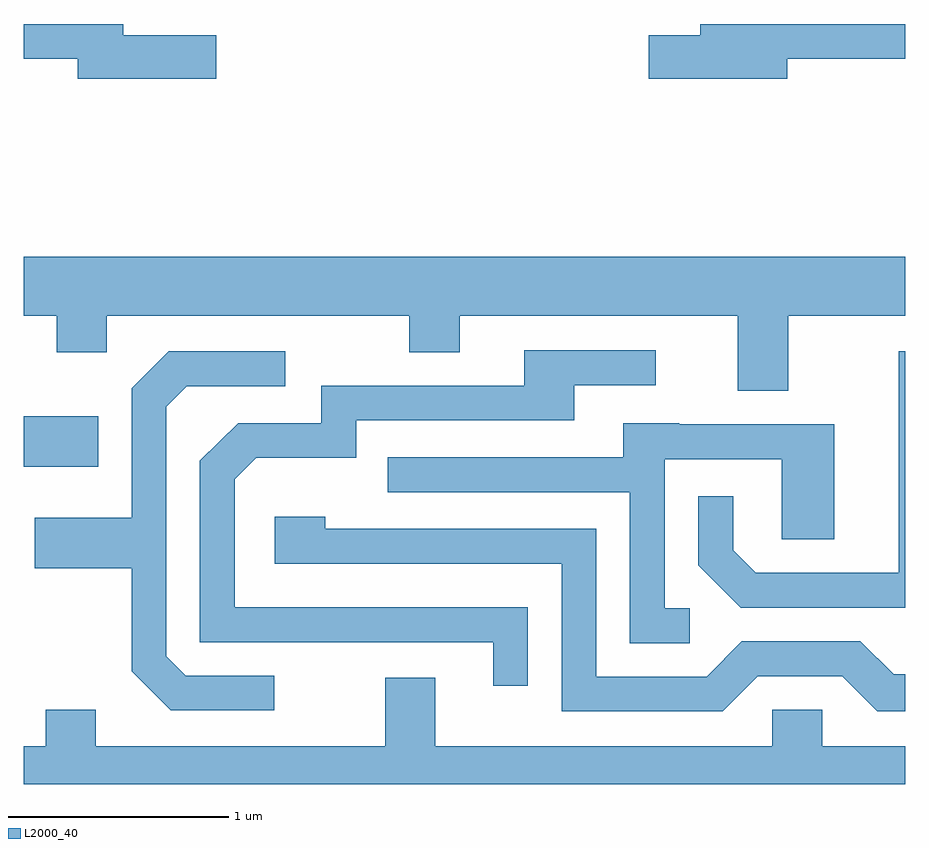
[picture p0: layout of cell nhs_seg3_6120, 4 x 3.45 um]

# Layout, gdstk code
import gdstk
lib = gdstk.Library(unit=1e-6, precision=1e-09)
def R(c, l, rs):  # rectangles x0, y0, x1, y1
    for r in rs: c.add(gdstk.rectangle(r[:2], r[2:], *l))
def P(c, l, *ps):  # polygons
    for p in ps: c.add(gdstk.Polygon(p, *l))
L2000_40 = (2000, 40)

nhs_seg3_6120 = lib.new_cell('nhs_seg3_6120')
R(nhs_seg3_6120, L2000_40, [(365.611,1125.331,365.949,1125.559)])
P(nhs_seg3_6120, L2000_40, [(369.074,1127.181),(369.611,1127.181),(369.611,1127.339),(368.681,1127.339),(368.681,1127.289),(368.446,1127.289),(368.446,1127.091),(369.074,1127.091)],
  [(366.484,1127.289),(366.064,1127.289),(366.064,1127.339),(365.611,1127.339),(365.611,1127.181),(365.856,1127.181),(365.856,1127.091),(366.484,1127.091)],
  [(369.079,1126.016),(369.611,1126.016),(369.611,1126.284),(365.611,1126.284),(365.611,1126.016),(365.761,1126.016),(365.761,1125.851),(365.989,1125.851),(365.989,1126.016),(367.361,1126.016),(367.361,1125.851),(367.589,1125.851),(367.589,1126.016),(368.851,1126.016),(368.851,1125.676),(369.079,1125.676)],
  [(367.899,1124.694),(366.569,1124.694),(366.569,1125.274),(366.667,1125.371),(367.119,1125.371),(367.119,1125.541),(368.109,1125.541),(368.109,1125.701),(368.478,1125.701),(368.478,1125.859),(367.881,1125.859),(367.881,1125.699),(366.961,1125.699),(366.961,1125.529),(366.584,1125.529),(366.411,1125.357),(366.411,1124.536),(367.741,1124.536),(367.741,1124.338),(367.899,1124.338)],
  [(366.748,1124.384),(366.347,1124.384),(366.259,1124.472),(366.259,1125.604),(366.352,1125.696),(366.798,1125.696),(366.798,1125.854),(366.269,1125.854),(366.101,1125.687),(366.101,1125.099),(365.661,1125.099),(365.661,1124.871),(366.101,1124.871),(366.101,1124.404),(366.279,1124.226),(366.748,1124.226)],
  [(369.611,1125.854),(369.581,1125.854),(369.581,1124.849),(368.932,1124.849),(368.829,1124.952),(368.829,1125.198),(368.671,1125.198),(368.671,1124.884),(368.864,1124.691),(369.611,1124.691)],
  [(368.633,1124.689),(368.519,1124.689),(368.519,1125.366),(369.051,1125.366),(369.051,1125.001),(369.289,1125.001),(369.289,1125.524),(368.585,1125.524),(368.585,1125.529),(368.331,1125.529),(368.331,1125.374),(367.263,1125.374),(367.263,1125.216),(368.361,1125.216),(368.361,1124.531),(368.633,1124.531)],
  [(368.942,1124.381),(369.324,1124.381),(369.484,1124.221),(369.611,1124.221),(369.611,1124.389),(369.557,1124.389),(369.407,1124.539),(368.869,1124.539),(368.709,1124.379),(368.209,1124.379),(368.209,1125.049),(366.979,1125.049),(366.979,1125.104),(366.751,1125.104),(366.751,1124.891),(368.051,1124.891),(368.051,1124.221),(368.782,1124.221)],
  [(369.611,1124.064),(369.234,1124.064),(369.234,1124.229),(369.006,1124.229),(369.006,1124.064),(367.479,1124.064),(367.479,1124.374),(367.251,1124.374),(367.251,1124.064),(365.939,1124.064),(365.939,1124.229),(365.711,1124.229),(365.711,1124.064),(365.611,1124.064),(365.611,1123.892),(369.611,1123.892)])

lib.write_gds('nhs_seg3_6120.gds')
